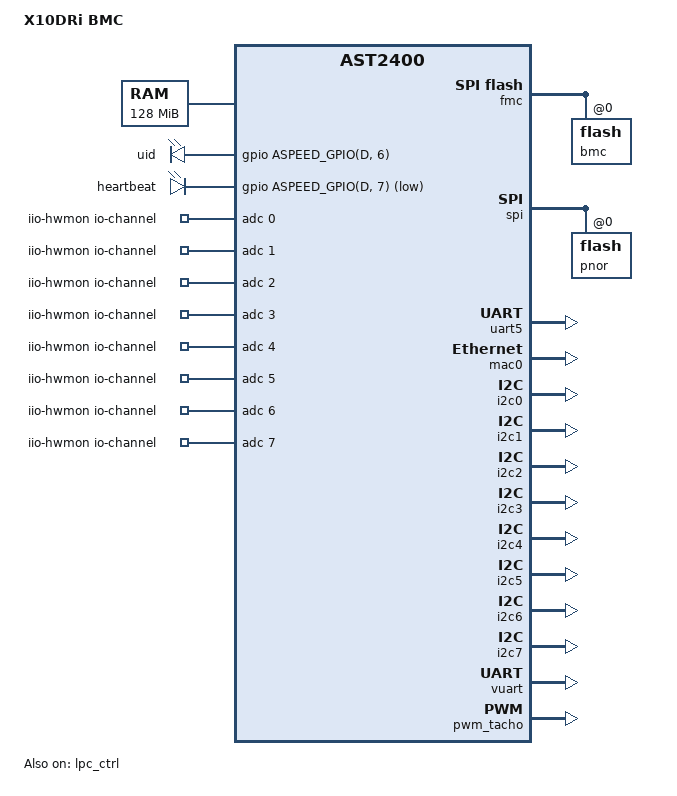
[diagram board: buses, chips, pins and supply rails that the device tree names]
// SPDX-License-Identifier: GPL-2.0
// Copyright (c) 2020 Super Micro Computer, Inc

/dts-v1/;

#include "aspeed-g4.dtsi"
#include <dt-bindings/gpio/aspeed-gpio.h>

/ {
	model = "X10DRi BMC";
	compatible = "supermicro,x10dri-bmc", "aspeed,ast2400";

	chosen {
		stdout-path = &uart5;
		bootargs = "earlycon";
	};

	memory {
		/* 128 MiB DDR3 memory */
		reg = <0x40000000 0x08000000>;
	};

	reserved-memory {
		#address-cells = <1>;
		#size-cells = <1>;
		ranges;

		vga_memory: framebuffer@47000000 {
			no-map;
			reg = <0x47000000 0x01000000>; /* 16MB */
		};

		flash_memory: region@98000000 {
			no-map;
			reg = <0x98000000 0x01000000>; /* 16MB */
		};
	};

	leds {
		compatible = "gpio-leds";

		uid {
			gpios = <&gpio ASPEED_GPIO(D, 6) GPIO_ACTIVE_HIGH>;
		};

		heartbeat {
			gpios = <&gpio ASPEED_GPIO(D, 7) GPIO_ACTIVE_LOW>;
		};
	};

	iio-hwmon {
		compatible = "iio-hwmon";
		io-channels = <&adc 0>, <&adc 1>, <&adc 2>, <&adc 3>,
			<&adc 4>, <&adc 5>, <&adc 6>, <&adc 7>,
			<&adc 8>, <&adc 9>, <&adc 10>, <&adc 11>,
			<&adc 12>, <&adc 13>, <&adc 14>, <&adc 15>;
	};

};

&gpio {
    status = "okay";
};

&fmc {
	status = "okay";
	flash@0 {
		status = "okay";
		m25p,fast-read;
		label = "bmc";
#include "openbmc-flash-layout.dtsi"
	};
};

&spi {
	status = "okay";
	pinctrl-names = "default";
	pinctrl-0 = <&pinctrl_spi1_default>;

	flash@0 {
		status = "okay";
		m25p,fast-read;
		label = "pnor";
	};
};

&uart5 {
	status = "okay";
};

&mac0 {
	status = "okay";

	use-ncsi;
	no-hw-checksum;

	pinctrl-names = "default";
	pinctrl-0 = <&pinctrl_rmii1_default>;
};

&i2c0 {
	status = "okay";
};

&i2c1 {
	status = "okay";
};

&i2c2 {
	status = "okay";
};

&i2c3 {
	status = "okay";
};

&i2c4 {
	status = "okay";
};

&i2c5 {
	status = "okay";
};

&i2c6 {
	status = "okay";
};

&i2c7 {
	status = "okay";
};

&vuart {
	status = "okay";
};

&lpc_ctrl {
	status = "okay";
	memory-region = <&flash_memory>;
	flash = <&spi>;
};

&pwm_tacho {
	status = "okay";
	pinctrl-names = "default";
	pinctrl-0 = <&pinctrl_pwm0_default &pinctrl_pwm1_default
			 &pinctrl_pwm2_default &pinctrl_pwm3_default
			 &pinctrl_pwm4_default &pinctrl_pwm5_default
			 &pinctrl_pwm6_default &pinctrl_pwm7_default>;

	fan@0 {
		reg = <0x00>;
		aspeed,fan-tach-ch = /bits/ 8 <0x00>;
	};

	fan@1 {
		reg = <0x01>;
		aspeed,fan-tach-ch = /bits/ 8 <0x01>;
	};

	fan@2 {
		reg = <0x02>;
		aspeed,fan-tach-ch = /bits/ 8 <0x02>;
	};

	fan@3 {
		reg = <0x03>;
		aspeed,fan-tach-ch = /bits/ 8 <0x03>;
	};

	fan@4 {
		reg = <0x00>;
		aspeed,fan-tach-ch = /bits/ 8 <0x04>;
	};

	fan@5 {
		reg = <0x01>;
		aspeed,fan-tach-ch = /bits/ 8 <0x05>;
	};

	fan@6 {
		reg = <0x02>;
		aspeed,fan-tach-ch = /bits/ 8 <0x06>;
	};

	fan@7 {
		reg = <0x03>;
		aspeed,fan-tach-ch = /bits/ 8 <0x07>;
	};
};
